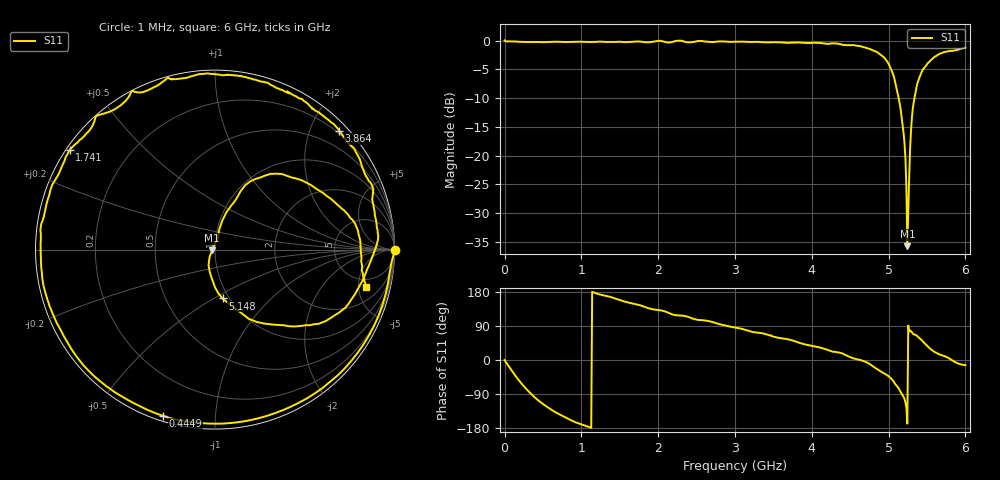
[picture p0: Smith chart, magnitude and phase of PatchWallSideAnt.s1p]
# Hz S RI R 50
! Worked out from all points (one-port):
!   501 points, 1 MHz to 6 GHz, reference 50 ohm
!   lowest |S11| = -35.7 dB at 5.244 GHz (marker M1), VSWR 1.03, Z = 48.4 - j0.33 ohm
!   |S11| at or under -10 dB: 5.131 GHz to 5.337 GHz (205.7 MHz wide, 3.93 % of centre)
!   S11 on the Smith chart (normalised r, x): 1 MHz: open; 444.9 MHz: 0.02, -0.73; 1.741 GHz: 0.01, +0.31; 3.864 GHz: 0.16, +2.48; 5.148 GHz: 0.93, -0.55; 6 GHz: 3.60, -6.12
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1000000  1.001 -0.00379
9.6984e7  0.861 -0.4728
2.16964e8  0.4677 -0.8529
3.24946e8  0.0816 -0.9666
4.44926e8  -0.2917 -0.9253
6.12898e8  -0.6467 -0.7279
7.56874e8  -0.8205 -0.5193
1.032828e9  -0.964 -0.1389
1.50075e9  -0.9065 0.3616
1.74071e9  -0.8101 0.5546
2.256624e9  -0.4629 0.8831
3.0005e9  0.0705 0.9752
3.756374e9  0.6021 0.7447
3.864356e9  0.6916 0.6618
4.368272e9  0.8796 0.3061
4.50025e9  0.902 0.1218
4.836194e9  0.7414 -0.305
5.028162e9  0.3839 -0.4217
5.148142e9  0.0419 -0.2719
5.196134e9  -0.0203 -0.154
5.232128e9  -0.03 -0.0408
5.244126e9  -0.016 -0.00341
5.256124e9  -0.000529 0.0328
5.292118e9  0.0398 0.1599
5.316114e9  0.0891 0.2433
5.412098e9  0.2784 0.4122
5.652058e9  0.7308 0.2058
6e9  0.843 -0.2087
